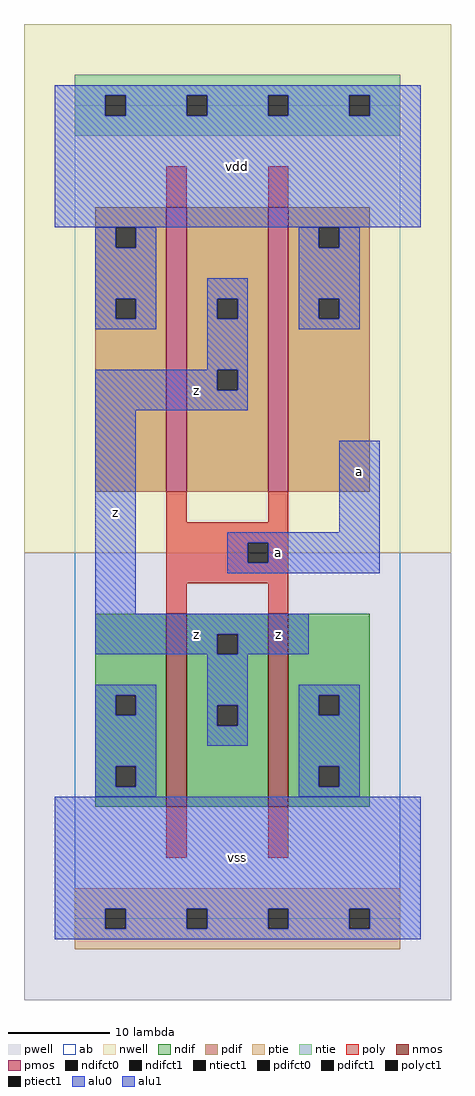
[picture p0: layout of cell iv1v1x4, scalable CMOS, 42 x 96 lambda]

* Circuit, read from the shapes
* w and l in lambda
.subckt iv1v1x4 a vdd vss z
M1 z a vss vss nfet w=19 l=2 m=2
M2 z a vdd vdd pfet w=28 l=2 m=2
.ends

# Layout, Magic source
magic
tech scmos
<< ab >>
rect 0 0 32 80
<< nwell >>
rect -5 36 37 88
<< pwell >>
rect -5 -8 37 36
<< poly >>
rect 9 70 11 74
rect 19 70 21 74
rect 9 39 11 42
rect 19 39 21 42
rect 9 37 21 39
rect 9 35 17 37
rect 19 35 21 37
rect 9 33 21 35
rect 9 30 11 33
rect 19 30 21 33
rect 9 6 11 11
rect 19 6 21 11
<< ndif >>
rect 2 22 9 30
rect 2 20 4 22
rect 6 20 9 22
rect 2 15 9 20
rect 2 13 4 15
rect 6 13 9 15
rect 2 11 9 13
rect 11 28 19 30
rect 11 26 14 28
rect 16 26 19 28
rect 11 21 19 26
rect 11 19 14 21
rect 16 19 19 21
rect 11 11 19 19
rect 21 22 29 30
rect 21 20 24 22
rect 26 20 29 22
rect 21 15 29 20
rect 21 13 24 15
rect 26 13 29 15
rect 21 11 29 13
<< pdif >>
rect 2 68 9 70
rect 2 66 4 68
rect 6 66 9 68
rect 2 61 9 66
rect 2 59 4 61
rect 6 59 9 61
rect 2 42 9 59
rect 11 61 19 70
rect 11 59 14 61
rect 16 59 19 61
rect 11 54 19 59
rect 11 52 14 54
rect 16 52 19 54
rect 11 42 19 52
rect 21 68 29 70
rect 21 66 24 68
rect 26 66 29 68
rect 21 61 29 66
rect 21 59 24 61
rect 26 59 29 61
rect 21 42 29 59
<< alu1 >>
rect -2 81 34 82
rect -2 79 3 81
rect 5 79 11 81
rect 13 79 19 81
rect 21 79 27 81
rect 29 79 34 81
rect -2 68 34 79
rect 13 61 17 63
rect 13 59 14 61
rect 16 59 17 61
rect 13 54 17 59
rect 2 52 14 54
rect 16 52 17 54
rect 2 50 17 52
rect 2 30 6 50
rect 26 38 30 47
rect 15 37 30 38
rect 15 35 17 37
rect 19 35 30 37
rect 15 34 30 35
rect 2 28 23 30
rect 2 26 14 28
rect 16 26 23 28
rect 13 21 17 26
rect 13 19 14 21
rect 16 19 17 21
rect 13 17 17 19
rect -2 1 34 12
rect -2 -1 3 1
rect 5 -1 11 1
rect 13 -1 19 1
rect 21 -1 27 1
rect 29 -1 34 1
rect -2 -2 34 -1
<< ptie >>
rect 0 1 32 3
rect 0 -1 3 1
rect 5 -1 11 1
rect 13 -1 19 1
rect 21 -1 27 1
rect 29 -1 32 1
rect 0 -3 32 -1
<< ntie >>
rect 0 81 32 83
rect 0 79 3 81
rect 5 79 11 81
rect 13 79 19 81
rect 21 79 27 81
rect 29 79 32 81
rect 0 77 32 79
<< nmos >>
rect 9 11 11 30
rect 19 11 21 30
<< pmos >>
rect 9 42 11 70
rect 19 42 21 70
<< polyct1 >>
rect 17 35 19 37
<< ndifct0 >>
rect 4 20 6 22
rect 4 13 6 15
rect 24 20 26 22
rect 24 13 26 15
<< ndifct1 >>
rect 14 26 16 28
rect 14 19 16 21
<< ntiect1 >>
rect 3 79 5 81
rect 11 79 13 81
rect 19 79 21 81
rect 27 79 29 81
<< ptiect1 >>
rect 3 -1 5 1
rect 11 -1 13 1
rect 19 -1 21 1
rect 27 -1 29 1
<< pdifct0 >>
rect 4 66 6 68
rect 4 59 6 61
rect 24 66 26 68
rect 24 59 26 61
<< pdifct1 >>
rect 14 59 16 61
rect 14 52 16 54
<< alu0 >>
rect 2 66 4 68
rect 6 66 8 68
rect 2 61 8 66
rect 22 66 24 68
rect 26 66 28 68
rect 2 59 4 61
rect 6 59 8 61
rect 2 58 8 59
rect 22 61 28 66
rect 22 59 24 61
rect 26 59 28 61
rect 22 58 28 59
rect 2 22 8 23
rect 2 20 4 22
rect 6 20 8 22
rect 2 15 8 20
rect 22 22 28 23
rect 22 20 24 22
rect 26 20 28 22
rect 2 13 4 15
rect 6 13 8 15
rect 2 12 8 13
rect 22 15 28 20
rect 22 13 24 15
rect 26 13 28 15
rect 22 12 28 13
<< labels >>
rlabel alu1 4 40 4 40 6 z
rlabel alu1 12 28 12 28 6 z
rlabel alu1 12 52 12 52 6 z
rlabel alu1 16 6 16 6 6 vss
rlabel alu1 20 36 20 36 6 a
rlabel alu1 20 28 20 28 6 z
rlabel alu1 16 74 16 74 6 vdd
rlabel alu1 28 44 28 44 6 a
<< end >>
